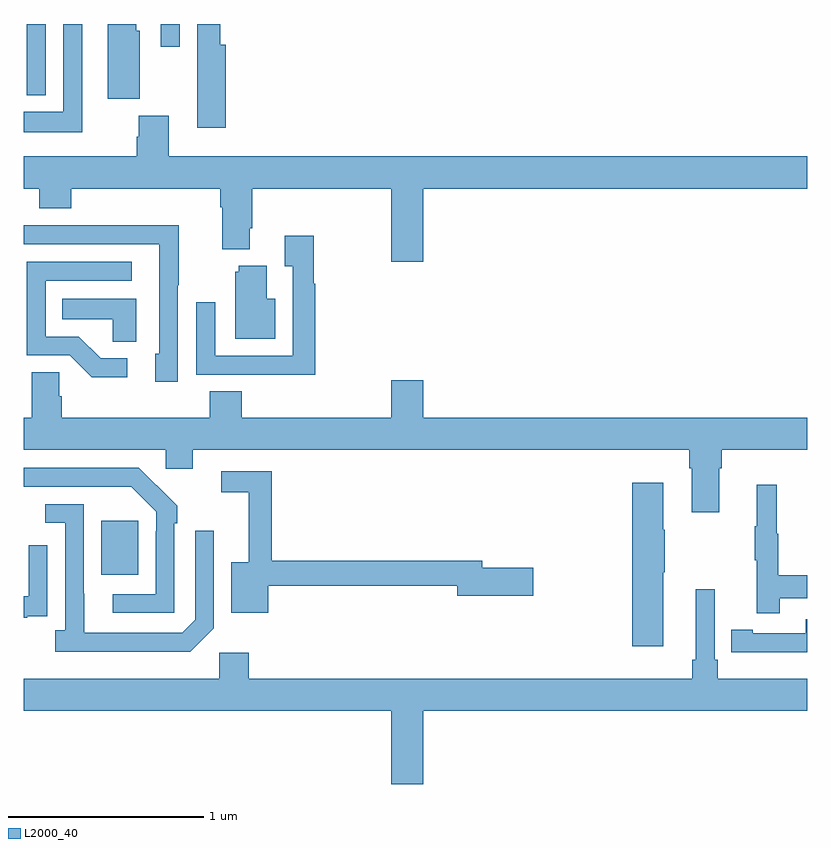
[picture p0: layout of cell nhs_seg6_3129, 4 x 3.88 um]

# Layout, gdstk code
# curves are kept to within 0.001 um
import gdstk
lib = gdstk.Library(unit=1e-6, precision=1e-09)
def R(c, l, rs):  # rectangles x0, y0, x1, y1
    for r in rs: c.add(gdstk.rectangle(r[:2], r[2:], *l))
def P(c, l, *ps):  # polygons
    for p in ps: c.add(gdstk.Polygon(p, *l))
L2000_40 = (2000, 40)

nhs_seg6_3129 = lib.new_cell('nhs_seg6_3129')
R(nhs_seg6_3129, L2000_40, [(295.397,954.689,295.585,954.964), (295.017,957.137,295.113,957.5), (295.701,957.384,295.797,957.5)])
P(nhs_seg6_3129, L2000_40, [(295.594,957.465),(295.576,957.465),(295.576,957.5),(295.43,957.5),(295.43,957.118),(295.594,957.118)],
  [(296.033,957.394),(296.003,957.394),(296.003,957.5),(295.887,957.5),(295.887,957.29),(295.886,957.29),(295.886,956.97),(296.033,956.97)],
  [(295.3,957.5),(295.203,957.5),(295.203,957.052),(295,957.052),(295,956.948),(295.3,956.948)],
  [(297.04,956.66),(299,956.66),(299,956.824),(295.742,956.824),(295.742,957.033),(295.589,957.033),(295.589,956.924),(295.577,956.924),(295.577,956.824),(295,956.824),(295,956.66),(295.079,956.66),(295.079,956.561),(295.244,956.561),(295.244,956.66),(296.003,956.66),(296.003,956.564),(296.015,956.564),(296.015,956.351),(296.155,956.351),(296.155,956.458),(296.168,956.458),(296.168,956.66),(296.876,956.66),(296.876,956.286),(297.04,956.286)],
  [(295.788,956.167),(295.791,956.167),(295.791,956.474),(295.327,956.474),(295.327,956.472),(295,956.472),(295,956.376),(295.692,956.376),(295.692,955.818),(295.673,955.818),(295.673,955.674),(295.788,955.674)],
  [(296.489,956.174),(296.482,956.174),(296.482,956.419),(296.333,956.419),(296.333,956.263),(296.373,956.263),(296.373,955.806),(295.977,955.806),(295.977,956.08),(295.881,956.08),(295.881,955.71),(296.197,955.71),(296.197,955.709),(296.489,955.709)],
  [(295.528,955.794),(295.393,955.794),(295.282,955.905),(295.113,955.905),(295.113,956.19),(295.552,956.19),(295.552,956.286),(295.017,956.286),(295.017,955.809),(295.236,955.809),(295.349,955.697),(295.528,955.697)],
  [(296.284,956.098),(296.242,956.098),(296.242,956.266),(296.099,956.266),(296.099,956.235),(296.081,956.235),(296.081,955.895),(296.284,955.895)],
  [(295.576,956.098),(295.198,956.098),(295.198,955.994),(295.455,955.994),(295.455,955.879),(295.576,955.879)],
  [(298.549,955.232),(298.562,955.232),(298.562,955.328),(299,955.328),(299,955.492),(297.04,955.492),(297.04,955.681),(296.876,955.681),(296.876,955.492),(296.114,955.492),(296.114,955.625),(295.949,955.625),(295.949,955.492),(295.196,955.492),(295.196,955.601),(295.182,955.601),(295.182,955.724),(295.043,955.724),(295.043,955.492),(295,955.492),(295,955.328),(295.725,955.328),(295.725,955.23),(295.864,955.23),(295.864,955.328),(298.397,955.328),(298.397,955.232),(298.409,955.232),(298.409,955.008),(298.549,955.008)],
  [(295.77,954.953),(295.785,954.953),(295.785,955.041),(295.588,955.236),(295,955.236),(295,955.14),(295.549,955.14),(295.677,955.011),(295.677,954.911),(295.674,954.911),(295.674,954.591),(295.455,954.591),(295.455,954.495),(295.77,954.495)],
  [(296.248,954.633),(297.212,954.633),(297.212,954.583),(297.601,954.583),(297.601,954.725),(297.34,954.725),(297.34,954.761),(296.267,954.761),(296.267,955.218),(296.01,955.218),(296.01,955.11),(296.15,955.11),(296.15,954.754),(296.06,954.754),(296.06,954.497),(296.248,954.497)],
  [(298.264,954.703),(298.272,954.703),(298.272,954.92),(298.264,954.92),(298.264,955.159),(298.106,955.159),(298.106,954.324),(298.264,954.324)],
  [(298.859,954.57),(299,954.57),(299,954.686),(298.852,954.686),(298.852,954.9),(298.844,954.9),(298.844,955.15),(298.742,955.15),(298.742,954.937),(298.731,954.937),(298.731,954.763),(298.742,954.763),(298.742,954.492),(298.859,954.492)],
  [(295.971,954.417),(295.971,954.913),(295.875,954.913),(295.875,954.459),(295.809,954.393),(295.309,954.393),(295.308,955.05),(295.11,955.05),(295.11,954.954),(295.212,954.954),(295.212,954.406),(295.161,954.406),(295.161,954.296),(295.85,954.296)],
  [(295.019,954.477),(295.121,954.477),(295.121,954.586),(295.122,954.586),(295.122,954.841),(295.026,954.841),(295.026,954.579),(295,954.579),(295,954.471),(295.019,954.471)],
  [(297.04,953.996),(299,953.996),(299,954.16),(298.541,954.16),(298.541,954.256),(298.527,954.256),(298.527,954.616),(298.43,954.616),(298.43,954.256),(298.411,954.256),(298.411,954.16),(296.15,954.16),(296.15,954.292),(295.998,954.292),(295.998,954.16),(295,954.16),(295,953.996),(296.876,953.996),(296.876,953.622),(297.04,953.622)],
  [(299,954.462),(298.992,954.462),(298.992,954.39),(298.72,954.39),(298.72,954.41),(298.612,954.41),(298.612,954.294),(298.72,954.294),(298.72,954.293),(299,954.293)])

lib.write_gds('nhs_seg6_3129.gds')
